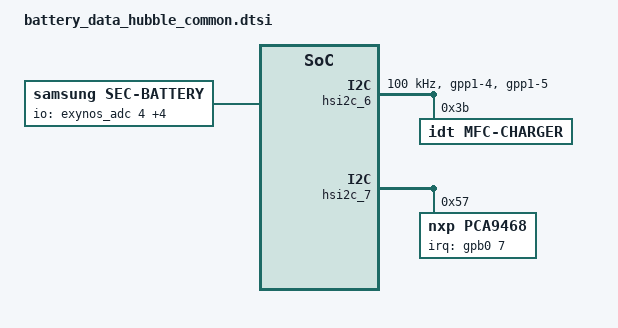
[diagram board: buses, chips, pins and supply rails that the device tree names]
/*
 * SAMSUNG UNIVERSAL9830 board device tree source
 *
 * Copyright (c) 2018 Samsung Electronics Co., Ltd.
 *		http://www.samsung.com
 *
 * This program is free software; you can redistribute it and/or modify
 * it under the terms of the GNU General Public License version 2 as
 * published by the Free Software Foundation.
 */

/ {
	fragment@battery {
		target-path = "/";
		__overlay__ {
			sec-direct-charger {
				status = "okay";
				compatible = "samsung,sec-direct-charger";

				charger,battery_name = "battery";
				charger,main_charger = "max77705-charger";
				charger,direct_charger = "pca9468-charger";

				charger,dchg_min_current = <2000>;
				charger,dchg_temp_low_threshold = <180>;
				charger,dchg_temp_high_threshold = <420>;
			};

			battery {
				status = "okay";
				compatible = "samsung,sec-battery";

				pinctrl-names = "default";
				/* battery,irq_gpio = <&gpa1 6 0>; */

				battery,vendor = "Battery";
				battery,charger_name = "sec-direct-charger";
				battery,fuelgauge_name = "max77705-fuelgauge";
				battery,wireless_charger_name = "mfc-charger";
				battery,technology = <2>; /* POWER_SUPPLY_TECHNOLOGY_LION */
				battery,fgsrc_switch_name = "max77705-charger"; /* Fuelgauge voltage source */

				battery,batt_data_version = <2>;

				battery,chip_vendor = "LSI";
				battery,temp_adc_type = <1>; /* SEC_BATTERY_ADC_TYPE_AP */

				battery,temp_check_type = <2>; /* SEC_BATTERY_TEMP_CHECK_TEMP */
				battery,usb_temp_check_type = <2>;
				battery,chg_temp_check_type = <2>;
				battery,wpc_temp_check_type = <2>;
				battery,dchg_temp_check_type = <2>;

				battery,thermal_source = <2>; /* SEC_BATTERY_THERMAL_SOURCE_ADC */
				battery,usb_thermal_source = <2>;
				battery,chg_thermal_source = <2>;
				battery,wpc_thermal_source = <2>;
				battery,dchg_thermal_source = <3>; /* SEC_BATTERY_THERMAL_SOURCE_CHG_ADC */

				battery,polling_time = <10 30 30 30 3600>;

				battery,temp_table_adc = <275 336 415 483 551 667 764 903 1054 1189
					1384 1575 1787 2042 2263 2492 2723 2937 3127 3309 3463 3578 3678>;
				battery,temp_table_data = <900 850 800 750 700 650 600 550 500 450
					400 350 300 250 200 150 100 50 0 (-50) (-100) (-150) (-200)>;

				battery,usb_temp_table_adc = <275 336 415 483 551 667 764 903 1054 1189
					1384 1575 1787 2042 2263 2492 2723 2937 3127 3309 3463 3578 3678>;
				battery,usb_temp_table_data = <900 850 800 750 700 650 600 550 500 450
					400 350 300 250 200 150 100 50 0 (-50) (-100) (-150) (-200)>;

				battery,chg_temp_table_adc = <275 336 415 483 551 667 764 903 1054 1189
					1384 1575 1787 2042 2263 2492 2723 2937 3127 3309 3463 3578 3678>;
				battery,chg_temp_table_data = <900 850 800 750 700 650 600 550 500 450
					400 350 300 250 200 150 100 50 0 (-50) (-100) (-150) (-200)>;

				battery,wpc_temp_table_adc = <275 336 415 483 551 667 764 903 1054 1189
					1384 1575 1787 2042 2263 2492 2723 2937 3127 3309 3463 3578 3678>;
				battery,wpc_temp_table_data = <900 850 800 750 700 650 600 550 500 450
					400 350 300 250 200 150 100 50 0 (-50) (-100) (-150) (-200)>;

				battery,dchg_temp_table_adc = <110262 131376 159528 190026 225216 265098 307326 373014 436356 511428
					593538 685032 783564 886788 992358 1100274 1205844 1299684 1391178 1470942 1538976 1595280 1642200>;
				battery,dchg_temp_table_data = <900 850 800 750 700 650 600 550 500 450
					400 350 300 250 200 150 100 50 0 (-50) (-100) (-150) (-200)>;

				battery,wireless_cc_cv = <85>;
				battery,wpc_cc_cv_vout = <5500>;
				battery,wpc_cv_call_vout = <5000>;
				battery,wpc_cc_call_vout = <5000>;
				battery,wpc_det = <&gpa2 0 0>;
				battery,wpc_en = <&gpm10 0 0>;
				battery,wpc_int = <&gpa3 2 0>;
				battery,hv_vout_wa = <0x41>; /* WC vout 10.0V */
				battery,adc_check_count = <5>;

				battery,cable_check_type = <4>; /* SEC_BATTERY_CABLE_CHECK_PSY */
				battery,cable_source_type = <1>; /* SEC_BATTERY_CABLE_SOURCE_EXTERNAL */
				battery,polling_type = <1>; /* SEC_BATTERY_MONITOR_ALARM */
				battery,monitor_initial_count = <0>;

				battery,battery_check_type = <0>; /* SEC_BATTERY_CHECK_NONE */
				battery,check_count = <0>;
				battery,check_adc_max = <1440>;
				battery,check_adc_min = <0>;

				battery,ovp_uvlo_check_type = <3>; /* SEC_BATTERY_OVP_UVLO_CHGPOLLING */

				battery,temp_check_count = <1>;
				battery,temp_highlimit_threshold_event = <700>;
				battery,temp_highlimit_recovery_event = <680>;
				battery,temp_high_threshold_event = <500>;
				battery,temp_high_recovery_event = <480>;
				battery,temp_low_threshold_event = <0>;
				battery,temp_low_recovery_event = <20>;
				battery,temp_highlimit_threshold_normal = <700>;
				battery,temp_highlimit_recovery_normal = <680>;
				battery,temp_high_threshold_normal = <500>;
				battery,temp_high_recovery_normal = <480>;
				battery,temp_low_threshold_normal = <0>;
				battery,temp_low_recovery_normal = <20>;
				battery,temp_highlimit_threshold_lpm = <700>;
				battery,temp_highlimit_recovery_lpm = <680>;
				battery,temp_high_threshold_lpm = <500>;
				battery,temp_high_recovery_lpm = <480>;
				battery,temp_low_threshold_lpm = <0>;
				battery,temp_low_recovery_lpm = <20>;
				battery,wpc_high_threshold_normal = <450>;
				battery,wpc_high_recovery_normal = <430>;
				battery,wpc_low_threshold_normal = <0>;
				battery,wpc_low_recovery_normal = <20>;
				battery,tx_high_threshold = <450>;
				battery,tx_high_recovery = <400>;
				battery,tx_low_threshold = <0>;
				battery,tx_low_recovery = <50>;
				battery,full_check_type = <2>; /* SEC_BATTERY_FULLCHARGED_FUELGAUGE */
				battery,full_check_type_2nd = <2>; /* SEC_BATTERY_FULLCHARGED_FUELGAUGE */
				battery,full_check_count = <1>;
				battery,chg_gpio_full_check = <0>;
				battery,chg_polarity_full_check = <1>;

				battery,chg_high_temp = <470>;
				battery,chg_high_temp_recovery = <450>;

				battery,dchg_high_temp = <520>;
				battery,dchg_high_temp_recovery = <460>;
				battery,dchg_high_batt_temp = <400>;
				battery,dchg_high_batt_temp_recovery = <380>;

				battery,chg_input_limit_current = <1000>;
				battery,chg_charging_limit_current = <1900>;
				battery,dchg_input_limit_current = <1000>;
				battery,dchg_charging_limit_current = <2000>;

				battery,charging_limit_by_tx_check = <1>;
				battery,charging_limit_current_by_tx = <1200>;

				battery,wpc_temp_control_source = <1>; /* TEMP_CONTROL_SOURCE_BAT_THM = WPC_THM */
				battery,wpc_high_temp = <410>;
				battery,wpc_high_temp_recovery = <390>;
				battery,wpc_input_limit_current = <600>;
				battery,wpc_charging_limit_current = <1000>;
				battery,wpc_temp_lcd_on_control_source = <1>; /* TEMP_CONTROL_SOURCE_BAT_THM = WPC_THM */
				battery,wpc_lcd_on_high_temp = <410>;
				battery,wpc_lcd_on_high_temp_rec = <390>;
				battery,wpc_lcd_on_input_limit_current = <450>;

				battery,wpc_store_high_temp = <360>;
				battery,wpc_store_high_temp_recovery = <340>;
				battery,wpc_store_lcd_on_high_temp = <360>;
				battery,wpc_store_lcd_on_high_temp_rec = <300>;
				battery,wpc_store_lcd_on_charging_limit_current = <400>;

				battery,sleep_mode_limit_current = <800>;
				battery,wc_full_input_limit_current = <100>;

				battery,mix_high_temp = <420>;
				battery,mix_high_chg_temp = <500>;
				battery,mix_high_dc_temp = <580>;
				battery,mix_high_temp_recovery = <390>;

				/* SEC_BATTERY_FULL_CONDITION_NOTIMEFULL | SEC_BATTERY_FULL_CONDITION_VCELL */
				battery,full_condition_type = <9>;
				battery,full_condition_soc = <93>;
				battery,full_condition_vcell = <4330>;

				battery,recharge_check_count = <1>;
				battery,recharge_condition_type = <4>; /* SEC_BATTERY_RECHARGE_CONDITION_VCELL */
				battery,recharge_condition_soc = <98>;
				battery,recharge_condition_vcell = <4310>;

				battery,charging_total_time = <14400>;
				battery,hv_charging_total_time = <10800>;
				battery,normal_charging_total_time = <18000>;
				battery,usb_charging_total_time = <36000>;
				battery,recharging_total_time = <5400>;
				battery,charging_reset_time = <0>;

				battery,chg_float_voltage = <4380>;
				battery,chg_ocp_current = <6200>;
				battery,chg_ocp_dtc = <100>;

				battery,swelling_high_temp_block = <420>;
				battery,swelling_high_temp_recov = <400>;
				battery,swelling_low_temp_block_1st = <150>;
				battery,swelling_low_temp_recov_1st = <170>;
				battery,swelling_low_temp_block_2nd = <50>;
				battery,swelling_low_temp_recov_2nd = <70>;
				battery,swelling_low_temp_3rd_ctrl;
				battery,swelling_low_temp_block_3rd = <180>;
				battery,swelling_low_temp_recov_3rd = <200>;

				battery,swelling_low_temp_current = <700>;	/* 0.24C */
				battery,swelling_low_temp_current_2nd = <300>;	/* 0.1C */
				battery,swelling_low_temp_current_3rd = <3000>;	/* 0.72C */
				battery,swelling_low_temp_topoff = <150>;	/* 0.05C */
				battery,swelling_high_temp_current = <1050>;	/* 0.36C */
				battery,swelling_high_temp_topoff = <150>;	/* 0.05C */
				battery,swelling_wc_high_temp_current = <700>;	/* 0.24C */
				battery,swelling_wc_low_temp_current = <700>;	/* 0.24C */
 				battery,swelling_wc_low_temp_current_2nd = <300>;	/* 0.1C */
				battery,swelling_wc_low_temp_current_3rd = <3000>;	/* 0.72C */
				battery,swelling_low_rechg_thr = <180>;

				battery,swelling_drop_float_voltage = <4150>;
				battery,swelling_high_rechg_voltage = <4000>;
				battery,swelling_low_rechg_voltage = <4000>;
				battery,wa_float_voltage = <4050>;

				battery,siop_event_check_type = <1>;
				battery,siop_call_cv_current = <300>;
				battery,siop_call_cc_current = <300>;

				battery,siop_input_limit_current = <1200>;
				battery,siop_charging_limit_current = <1000>;
				battery,siop_hv_input_limit_current = <700>;
				battery,siop_hv_charging_limit_current = <1000>;
				battery,siop_apdo_input_limit_current = <1200>;
				battery,siop_apdo_charging_limit_current = <2000>;

				battery,siop_wireless_input_limit_current = <600>;
				battery,siop_wireless_charging_limit_current = <850>;
				battery,siop_hv_wireless_input_limit_current = <700>;
				battery,siop_hv_wireless_charging_limit_current = <850>;
				battery,siop_store_hv_wireless_input_limit_current = <450>;
				battery,store_mode_buckoff;

				battery,ttf_hv_charge_current = <2625>;
				battery,ttf_hv_wireless_charge_current = <1390>;
				battery,ttf_wireless_charge_current = <840>;
				battery,ttf_dc25_charge_current = <4000>;
				battery,ttf_dc45_charge_current = <6000>;

				battery,rp_current_rp1 = <500>;
				battery,rp_current_rp2 = <1500>;
				battery,rp_current_rp3 = <3000>;
				battery,rp_current_rdu_rp3 = <2100>;
				battery,rp_current_abnormal_rp3 = <1800>;

				battery,pd_charging_charge_power = <15000>;
				battery,max_charging_current = <3150>;
				battery,max_charging_charge_power = <25000>; /* 25W */
				battery,battery_full_capacity = <4000>;

				/* cycle, chg_float_voltage, recharge_condition_vcell, full_condition_vcell, full_condition_soc */
				battery,age_data = <0 4380 4310 4330 93
						300 4360 4290 4310 92
						400 4340 4270 4290 91
						700 4320 4250 4270 90
						1000 4270 4200 4220 89>;

				battery,health_condition = <
					/* CYCLE ASOC */
					900 75	/* GOOD */
					1200 65 /* NORMAL */
					1500 55 /* AGED */
					>;

				/* step charging option */
				battery,step_charging_type = <0>;

				/* direct step charging option */
				battery,dc_step_chg_type = <0x6B>; /* origin(0x6B), soc option is temporary removed */
				battery,dc_step_chg_charge_power = <22000>;
				battery,dc_step_chg_step = <3>;
				battery,dc_step_chg_step_2nd = <0>;
				battery,dc_step_chg_cond_vol = <4090 4190 4380>; /*<25w 3step> STEP_CHARGING_CONDITION_VOLTAGE */ 
				battery,dc_step_chg_cond_iin = <1950 1550 0>; /* <25w 3step> STEP_CHARGING_CONDITION_INPUT_CURRENT */
				battery,dc_step_chg_iin_check_cnt = <3>;
				battery,dc_step_chg_cond_soc = <30 65 100 30 65 100 30 65 100 30 65 100 30 65 100>; /* <25w 3step> STEP_CHARGING_CONDITION_SOC */
				battery,dc_step_chg_val_vfloat = <4130 4310 4380>; /* <25w 3step> STEP_CHARGING_CONDITION_FLOAT_VOLTAGE */
				battery,dc_step_chg_val_iout = <5100 3900 3100>; /* <25w 3step> */

				battery,pre_afc_input_current = <500>; /* mA */
				battery,prepare_ta_delay = <0>; /* msec */

				battery,max_input_voltage = <9000>; /* mV */
				battery,max_input_current = <3000>;  /* mA */

				battery,enable_sysovlo_irq;
				battery,enable_noise_wa;
				battery,dis_auto_shipmode_temp_ctrl;

				battery,standard_curr = <3150>;
				battery,expired_time = <10800>;
				battery,recharging_expired_time = <5400>;

				battery,cisd_max_voltage_thr = <4430>; /* battery ovp detection voltage */

				battery,cisd_alg_index = <8>;
				battery,ignore_cisd_index = <0 0>;
				battery,ignore_cisd_index_d = <0 80>; /* Do not use BUCK_OFF_PER_DAY, DROP_SENSOR_PER_DAY */

				battery,tx_stop_capacity = <30>;
				battery,tx_minduty_default = <20>;
				battery,tx_minduty_5V = <50>;

				battery,tx_uno_iout = <1500>;
				battery,tx_mfc_iout_gear = <1500>;
				battery,tx_mfc_iout_phone = <1100>;
				battery,tx_mfc_iout_phone_5v = <300>;
				battery,tx_mfc_iout_lcd_on = <900>;

				battery,support_unknown_wpcthm;

				io-channels = <&exynos_adc 4>, <&exynos_adc 3>, <&exynos_adc 11>, <&exynos_adc 4>, <&exynos_adc 1>;
				io-channel-names = "adc-temp", "adc-chg-temp", "adc-in-bat", "adc-wpc-temp", "adc-usb-temp";
				#io-channel-cells = <5>;
				io-channel-ranges;
			};

			max77705-fuelgauge {
				status = "okay";
				fuelgauge,fuel_alert_soc = <1>;
				fuelgauge,jig_gpio = <&gpm23 0 0>;
				fuelgauge,jig_low_active;
				fuelgauge,capacity_max = <1000>;
				fuelgauge,capacity_max_margin = <300>;
				fuelgauge,capacity_min = <0>;
				fuelgauge,capacity_calculation_type = <0x5C>;
				fuelgauge,repeated_fuelalert;
				fuelgauge,using_temp_compensation;
				fuelgauge,low_temp_limit = <100>;
				fuelgauge,using_hw_vempty;
				fuelgauge,v_empty = <0xA7E2>; /* Empty: 3400mV, Recover: 4000mV */
				fuelgauge,v_empty_origin = <0x7D54>; /* Empty: 2500mV, Recover: 3360mV */
				fuelgauge,sw_v_empty_voltage = <3200>;
				fuelgauge,sw_v_empty_voltage_cisd = <3100>;
				fuelgauge,sw_v_empty_recover_voltage = <3480>;
				fuelgauge,qrtable20 = <0x2800>;
				fuelgauge,qrtable30 = <0x2300>;
				fuelgauge,fg_resistor = <2>;
				fuelgauge,capacity = <0x0FF8>;
				/* fullcapnom(=capacity), dPacc, dQacc,  rcomp0, tempco */
				fuelgauge,fg_reset_wa_data = <0x0FF8 0x3200 0x03C4 0x003E 0x1527>;
				/*fuelgauge,auto_discharge_en;*/
				fuelgauge,discharge_temp_threshold = <600>;
				fuelgauge,discharge_volt_threshold = <4200>;

				fuelgauge,lost_soc_trig_soc = <1000>; /* 100.0% */
				fuelgauge,lost_soc_trig_d_soc = <20>; /* 2% */
				fuelgauge,lost_soc_trig_scale = <2>; /* 2x */
				fuelgauge,lost_soc_guarantee_soc = <30>; /* 3.0% */
				fuelgauge,lost_soc_min_vol = <3200>; /* 3200mV */

				fuelgauge,ttf_capacity = <3625>;
				fuelgauge,cv_data = <
					3733	840	1462
					3616	847	1432
					3575	849	1421
					3452	853	1401
					3342	860	1370
					3228	864	1350
					3133	866	1340
					3019	874	1299
					2929	879	1268
					2843	883	1247
					2754	887	1227
					2625	895	1176
					2531	898	1155
					2410	905	1114
					2348	908	1094
					2214	915	1043
					2103	920	1002
					2019	924	971
					1911	930	920
					1834	933	899
					1722	942	817
					1649	946	776
					1532	950	735
					1410	958	643
					1338	960	623
					1213	969	510
					1105	975	428
					1010	983	305
					955	988	223
					881	990	123
					864	996	113
					761	1000	103
					710	1000	51
					668	1000	0
				>;
			};

			/* sec_battery_cable
			 *   0	UNKNOWN,
			 *   1	NONE,
			 *   2	PREPARE_TA,
			 *   3	TA,
			 *   4	USB,
			 *   5	USB_CDP,
			 *   6	9V_TA,
			 *   7	9V_ERR,
			 *   8	9V_UNKNOWN,
			 *   9	12V_TA,
			 *  10	WIRELESS,
			 *  11	HV_WIRELESS,
			 *  12	PMA_WIRELESS,
			 *  13	WIRELESS_PACK,
			 *  14	WIRELESS_HV_PACK,
			 *  15	WIRELESS_STAND,
			 *  16	WIRELESS_HV_STAND,
			 *  17	QC20,
			 *  18	QC30,
			 *  19	PDIC,
			 *  20	UARTOFF,
			 *  21	OTG,
			 *  22	LAN_HUB,
			 *  23	POWER_SHARING,
			 *  24	HMT_CONNECTED,
			 *  25	HMT_CHARGE,
			 *  26	HV_TA_CHG_LIMIT,
			 *  27	WIRELESS_VEHICLE,
			 *  28	WIRELESS_HV_VEHICLE,
			 *  29	PREPARE_WIRELESS_HV,
			 *  30	TIMEOUT,
			 *  31	SMART_OTG,
			 *  32	SMART_NOTG,
			 *  33	WIRELESS_TX,
			 *  34	HV_WIRELESS_20,
			 *  35	HV_WIRELESS_20_LIMIT,
			 *  36	WIRELESS_FAKE,
			 *  37  PREPARE_WIRELESS_20,
			 *  38	CABLE_PDIC_APDO,
			 *  39	CABLE_MAX,
			 */

			cable-info {
				default_input_current = <1800>;
				default_charging_current = <2100>;
				full_check_current_1st = <350>;
				full_check_current_2nd = <200>;

				current_group_1 {
					cable_number = <2 19 21 22 23 30>;
					input_current = <500>;
					charging_current = <500>;
				};
				current_group_2 {
					cable_number = <25 31>;
					input_current = <1000>;
					charging_current = <1000>;
				};
				current_group_3 {
					cable_number = <5 32>;
					input_current = <1500>;
					charging_current = <1500>;
				};
				current_group_4 {
					cable_number = <6 7 8>;
					input_current = <1650>;
					charging_current = <3150>;
				};
				current_group_5 {
					cable_number = <9>;
					input_current = <1650>;
					charging_current = <3150>;
				};
				current_group_6 {
					cable_number = <10 12 15 27 33 35>;
					input_current = <800>;
					charging_current = <3150>;
				};
				current_group_7 {
					cable_number = <13>;
					input_current = <700>;
					charging_current = <3150>;
				};
				current_group_8 {
					cable_number = <24>;
					input_current = <1000>;
					charging_current = <450>;
				};
				current_group_9 {
					cable_number = <26>;
					input_current = <2000>;
					charging_current = <1800>;
				};
				current_group_10 {
					cable_number = <11 14 16 28>;
					input_current = <750>;
					charging_current = <3150>;
				};
				current_group_11 {
					cable_number = <29 36 37>;
					input_current = <500>;
					charging_current = <1400>;
				};
				current_group_12 {
					cable_number = <1 4>;
					input_current = <475>;
					charging_current = <550>;
				};
				current_group_13 {
					cable_number = <34>;
					input_current = <500>;
					charging_current = <3150>;
				};
			};
			wireless-power-info {
				current_group_0 {
					wireless_power_class = <1>;
					vout = <5500>;
					input_current_limit = <800>;
					fast_charging_current = <3150>;
					ttf_charge_current = <840>;
					rx_power = <4500>;
				};
				current_group_1 {
					wireless_power_class = <2>;
					vout = <10000>;
					input_current_limit = <750>;
					fast_charging_current = <3150>;
					ttf_charge_current = <1390>;
					rx_power = <7500>;
				};
				current_group_2 {
					wireless_power_class = <2>;
					vout = <11000>;
					input_current_limit = <1100>;
					fast_charging_current = <3150>;
					ttf_charge_current = <1950>;
					rx_power = <12000>;
				};
				current_group_3 {
					wireless_power_class = <2>;
					vout = <11000>;
					input_current_limit = <1300>;
					fast_charging_current = <3150>;
					ttf_charge_current = <2025>;
					rx_power = <14000>;
				};
			};
		}; /* end of __overlay__ */
	}; /* end of fragment */
};

&pinctrl_0 {
	pdet_b: pdet-b {
		samsung,pins = "gpa0-6";
		samsung,pin-function = <0>;
		samsung,pin-pud = <1>;
		samsung,pin-drv = <0>;
		samsung,pin-con-pdn = <3>;
		samsung,pin-pud-pdn = <3>;
	};

	wpc_det: wpc-det {
		samsung,pins = "gpa2-0";
		samsung,pin-function = <0xf>;
		samsung,pin-pud = <0>;
		samsung,pin-drv = <0>;
	};

	ping_nen: ping-nen {
		samsung,pins = "gpa2-1";
		samsung,pin-function = <0>;
		samsung,pin-pud = <1>;
		samsung,pin-drv = <0>;
		samsung,pin-con-pdn = <3>;
		samsung,pin-pud-pdn = <3>;
	};

	wpc_int: wpc-int {
		samsung,pins = "gpa3-1";
		samsung,pin-function = <0xf>;
		samsung,pin-pud = <0>;
		samsung,pin-drv = <0>;
	};

	wchg_pdrc: wchg-pdrc {
		samsung,pins = "gpa4-1";
		samsung,pin-function = <0>;
		samsung,pin-pud = <1>;
		samsung,pin-drv = <0>;
		samsung,pin-con-pdn = <3>;
		samsung,pin-pud-pdn = <3>;
	};
};

&pinctrl_1 {
	wpc_en: wpc-en {
		samsung,pins = "gpm10-0";
		samsung,pin-function = <0x1>;
		samsung,pin-pud = <0>;
		samsung,pin-drv = <0>;
	};

	dc_cpen: dc-cpen {
		samsung,pins = "gpm29-0";
		samsung,pin-function = <0x1>;
		samsung,pin-pud = <0>;
		samsung,pin-drv = <0>;
	};
};

&pinctrl_4 {
	mfc_i2c: mfc-i2c {
		samsung,pins = "gpp1-4", "gpp1-5";
		samsung,pin-function = <2>;
		samsung,pin-pud = <0>;
		samsung,pin-drv = <0>;
		samsung,pin-con-pdn = <3>;
		samsung,pin-pud-pdn = <0>;
	};

	bat_id: bat-id {
		samsung,pins = "gpp2-7";
		samsung,pin-function = <0>;
		samsung,pin-pud = <1>;
	};
};

&pinctrl_5 {
	dc_irq: dc-irq {
		samsung,pins = "gpb0-7";
		samsung,pin-function = <0x0f>;
		samsung,pin-pud = <0>;
		samsung,pin-drv = <0>;
		samsung,pin-con-pdn = <3>;
		samsung,pin-pud-pdn = <0>;
	};
};

&hsi2c_6 {
	#address-cells = <1>;
	#size-cells = <0>;
	status = "okay";
	pinctrl-names = "default";
	pinctrl-0 = <&mfc_i2c>;
	samsung,stop-after-trans;
	samsung,stand-mode;
	clock-frequency = <100000>;

	mfc-charger@3b {
		compatible = "idt,mfc-charger";
		reg = <0x3b>;
		status = "okay";

		pinctrl-names = "default";
		pinctrl-0 = <&pdet_b &wpc_det &ping_nen &wchg_pdrc &wpc_en &wpc_int>;

		battery,wpc_int = <&gpa3 1 0>;
		battery,wpc_det = <&gpa2 0 0>;
		battery,mst_pwr_en = <&gpm18 0 0>;
		battery,wpc_en = <&gpm10 0 0>;

		battery,charger_name = "max77705-charger";
		battery,fuelgauge_name = "max77705-fuelgauge";
		battery,wireless_charger_name = "mfc-charger";
		battery,wc_cover_rpp = <0x44>;
		battery,phone_fod_threshold = <0x3b>;
		battery,wireless20_vout_list = <9 9 9>; /* WIRELESS_VOUT_11V, 11V, 11V */
		battery,wireless20_vrect_list = <10 11 11>; /* MFC_AFC_CONF_12V_TX, 12.5V, 12.5V */
		battery,wireless20_max_power_list = <2 3 3>; /* SEC_WIRELESS_RX_POWER_12W, 15W, 15W */
		battery,oc_fod1 = <1100>;
		battery,tx_gear_min_op_freq_delay = <4000>;
	};
};

&hsi2c_7 {
	status = "okay";
	pca9468@57 {
		compatible = "nxp,pca9468";
		reg = <0x57>;
		pinctrl-names = "default";
		pinctrl-0     = <&bat_id &dc_cpen &dc_irq>;

		pca9468,irq-gpio = <&gpb0 7 0>;
		pca9468,input-current-limit = <2550000>; /* 2.55A */
		pca9468,charging-current = <6000000>; /* 6A */
		pca9468,input-itopoff = <500000>; /* 500mA */
		pca9468,sense-resistance = <0>; /* 5mOhm */
		pca9468,switching-frequency = <3>; /* 980KHz */
		pca9468,ntc-threshold = <0>; /* disable */
		pca9468,chg_gpio_en = <&gpm29 0 0>;
		pca9468,ta-mode = <1>; /* 2:1 charging mode */
	};
};

